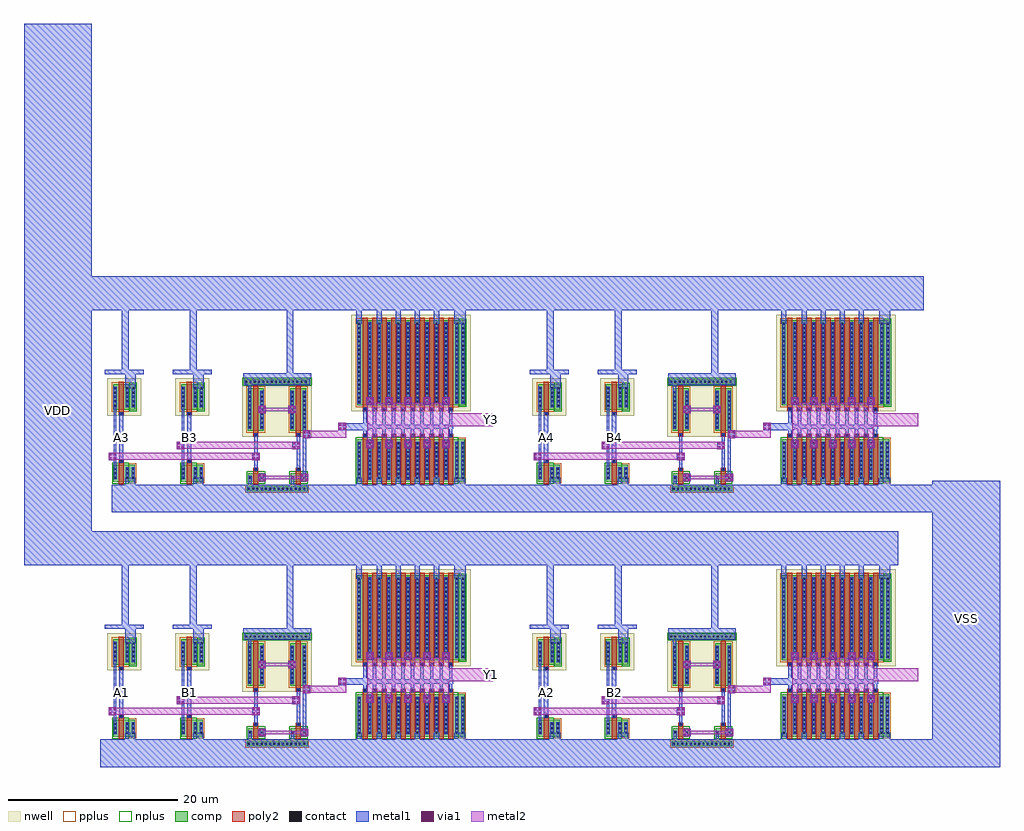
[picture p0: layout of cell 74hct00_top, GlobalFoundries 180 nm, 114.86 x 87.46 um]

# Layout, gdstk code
import gdstk
lib = gdstk.Library(unit=1e-6, precision=1e-09)
def R(c, l, rs):  # rectangles x0, y0, x1, y1
    for r in rs: c.add(gdstk.rectangle(r[:2], r[2:], *l))
def A(c, l, x, y, w, h, nx, ny, dx, dy):  # array of equal rectangles
    R(c, l, [(x+i*dx, y+j*dy, x+i*dx+w, y+j*dy+h) for i in range(nx) for j in range(ny)])
nwell = (21, 0)
comp = (22, 0)
poly2 = (30, 0)
pplus = (31, 0)
nplus = (32, 0)
contact = (33, 0)
metal1 = (34, 0)
via1 = (35, 0)
metal2 = (36, 0)

pfet = lib.new_cell('pfet')
R(pfet, nwell, [(-1.15,-0.69,2.86,3.69)])
R(pfet, comp, [(-0.46,0,0,3), (0,0,0.98,3), (0.98,0,1.44,3), (1.44,0,2.17,3)])
R(pfet, poly2, [(0.19,-0.68,0.79,-0.3), (0.19,-0.3,0.79,3.3)])
R(pfet, pplus, [(-0.63,-0.24,1.44,3.24)])
R(pfet, nplus, [(1.44,-0.17,2.34,3.17)])
A(pfet, contact, -0.34, 0.37, 0.22, 0.22, 1, 5, 0, 0.51)
A(pfet, contact, 1.1, 0.37, 0.22, 0.22, 1, 5, 0, 0.51)
A(pfet, contact, 1.83, 0.37, 0.22, 0.22, 1, 5, 0, 0.51)
R(pfet, contact, [(0.38,-0.6,0.6,-0.38)])
R(pfet, metal1, [(0.3,-0.681,0.68,-0.299), (-0.42,0.29,-0.04,2.71), (1.02,0.29,1.4,2.71), (1.75,0.29,2.13,2.71)])

nfet = lib.new_cell('nfet')
R(nfet, comp, [(-0.42,0,0,2), (0,0,0.98,2), (0.98,0,1.4,2), (1.4,0,2.11,2)])
R(nfet, poly2, [(0.19,-0.3,0.79,2.3), (0.19,2.3,0.79,2.66)])
R(nfet, pplus, [(1.4,-0.17,2.28,2.17)])
R(nfet, nplus, [(-0.59,-0.24,1.4,2.24)])
A(nfet, contact, -0.32, 0.38, 0.22, 0.22, 1, 3, 0, 0.51)
A(nfet, contact, 1.08, 0.38, 0.22, 0.22, 1, 3, 0, 0.51)
A(nfet, contact, 1.79, 0.38, 0.22, 0.22, 1, 3, 0, 0.51)
R(nfet, contact, [(0.38,2.37,0.6,2.59)])
R(nfet, metal1, [(-0.4,0.3,-0.02,1.7), (1,0.3,1.38,1.7), (1.71,0.3,2.09,1.7), (0.3,2.289,0.68,2.671)])

inv_skewed = lib.new_cell('inv_skewed')
R(inv_skewed, metal1, [(-0.415,-1.3,3.16,-0.8), (0.94,-0.8,1.65,0.5), (1.65,-0.8,2.15,0.5), (-0.37,0.5,-0.07,11.01), (0.24,2.265,0.74,8.215), (0.96,11.01,1.69,13.19), (1.69,11.01,2.19,13.19), (-1.45,12.69,3.16,13.19)])
inv_skewed.add(gdstk.Reference(pfet, (0,8.5)))
inv_skewed.add(gdstk.Reference(nfet, (0,0)))
inv_skewed.add(gdstk.Label('VDD', (0.855,12.94), layer=34, texttype=10))
inv_skewed.add(gdstk.Label('VSS', (0.855,-1.05), layer=34, texttype=10))
inv_skewed.add(gdstk.Label('IN', (0.49,5.245), layer=34, texttype=10))
inv_skewed.add(gdstk.Label('OUT', (-0.22,5.245), layer=34, texttype=10))

nfet_1 = lib.new_cell('nfet$1')
R(nfet_1, comp, [(-0.42,0,0,1), (0,0,0.98,1), (0.98,0,1.4,1)])
R(nfet_1, poly2, [(0.19,-0.3,0.79,1.3), (0.19,1.3,0.79,1.66)])
R(nfet_1, nplus, [(-0.59,-0.24,1.57,1.24)])
R(nfet_1, contact, [(-0.32,0.39,-0.1,0.61), (1.08,0.39,1.3,0.61), (0.38,1.37,0.6,1.59)])
R(nfet_1, metal1, [(-0.4,0.309,-0.02,0.691), (1,0.309,1.38,0.691), (0.3,1.289,0.68,1.671)])

pfet_1 = lib.new_cell('pfet$1')
R(pfet_1, nwell, [(-0.9,-0.44,1.88,5.44)])
R(pfet_1, comp, [(-0.46,0,0,5), (0,0,0.98,5), (0.98,0,1.44,5)])
R(pfet_1, poly2, [(0.19,-0.68,0.79,-0.3), (0.19,-0.3,0.79,5.3)])
R(pfet_1, pplus, [(-0.63,-0.24,1.61,5.24)])
A(pfet_1, contact, -0.34, 0.35, 0.22, 0.22, 1, 9, 0, 0.51)
A(pfet_1, contact, 1.1, 0.35, 0.22, 0.22, 1, 9, 0, 0.51)
R(pfet_1, contact, [(0.38,-0.6,0.6,-0.38)])
R(pfet_1, metal1, [(0.3,-0.681,0.68,-0.299), (-0.42,0.27,-0.04,4.73), (1.02,0.27,1.4,4.73)])

nor2 = lib.new_cell('nor2')
R(nor2, nwell, [(-1.1,5.3,7.08,12.26)])
R(nor2, comp, [(-0.59,-1.1,6.57,-0.5), (-0.9,11.5,6.88,12.1)])
R(nor2, pplus, [(-0.75,-1.26,6.73,-0.34)])
R(nor2, nplus, [(-1.06,11.34,7.04,12.26)])
A(nor2, contact, -0.45, -0.91, 0.22, 0.22, 14, 1, 0.5, 0)
A(nor2, contact, -0.76, 11.69, 0.22, 0.22, 15, 1, 0.5, 0)
R(nor2, metal1, [(-1,-1.8,6.98,-1.3), (-0.59,-1.8,6.57,-0.4), (-0.41,-1.3,-0.01,0.71), (4.59,-1.3,4.99,0.715), (0.74,0.05,1.64,0.95), (5.74,0.05,6.64,0.95), (6,0.59,6.4,10.53), (0.29,1.28,0.69,5.705), (5.29,1.28,5.69,5.715), (0.76,8.05,1.66,8.95), (4.32,8.05,5.22,8.95), (-0.43,10.53,-0.03,12.8), (-0.9,11.4,6.88,12.8), (-1,12.3,6.98,12.8)])
R(nor2, via1, [(0.8,0.11,1.06,0.37), (1.32,0.11,1.58,0.37), (5.8,0.11,6.06,0.37), (6.32,0.11,6.58,0.37), (0.8,0.63,1.06,0.89), (1.32,0.63,1.58,0.89), (5.8,0.63,6.06,0.89), (6.32,0.63,6.58,0.89), (0.82,8.11,1.08,8.37), (1.34,8.11,1.6,8.37), (4.38,8.11,4.64,8.37), (4.9,8.11,5.16,8.37), (0.82,8.63,1.08,8.89), (1.34,8.63,1.6,8.89), (4.38,8.63,4.64,8.89), (4.9,8.63,5.16,8.89)])
R(nor2, metal2, [(0.74,0.05,1.64,0.95), (5.74,0.05,6.64,0.95), (1.19,0.3,6.19,0.7), (0.76,8.05,1.66,8.95), (4.32,8.05,5.22,8.95), (1.21,8.3,4.77,8.7)])
nor2.add(gdstk.Reference(nfet_1, (0,0)))
nor2.add(gdstk.Reference(nfet_1, (5,0)))
nor2.add(gdstk.Reference(pfet_1, (0,6)))
nor2.add(gdstk.Reference(pfet_1, (5,6)))
nor2.add(gdstk.Label('VDD', (2.99,12.55), layer=34, texttype=10))
nor2.add(gdstk.Label('VSS', (2.99,-1.55), layer=34, texttype=10))
nor2.add(gdstk.Label('A', (0.49,3.495), layer=34, texttype=10))
nor2.add(gdstk.Label('B', (5.49,3.495), layer=34, texttype=10))
nor2.add(gdstk.Label('OUT', (6.2,3.48), layer=34, texttype=10))

pfet_2 = lib.new_cell('pfet$2')
R(pfet_2, nwell, [(-1.15,-0.69,12.94,10.69)])
R(pfet_2, comp, [(-0.46,0,0,10), (0,0,11.06,10), (11.06,0,11.52,10), (11.52,0,12.25,10)])
A(pfet_2, poly2, 0.19, -0.68, 0.6, 0.38, 10, 1, 1.12, 0)
A(pfet_2, poly2, 0.19, -0.3, 0.6, 10.6, 10, 1, 1.12, 0)
R(pfet_2, pplus, [(-0.63,-0.24,11.52,10.24)])
R(pfet_2, nplus, [(11.52,-0.17,12.42,10.17)])
A(pfet_2, contact, 0.38, -0.6, 0.22, 0.22, 10, 1, 1.12, 0)
A(pfet_2, contact, -0.34, 0.3, 0.22, 0.22, 1, 19, 0, 0.51)
A(pfet_2, contact, 0.94, 0.3, 0.22, 0.22, 9, 19, 1.12, 0.51)
A(pfet_2, contact, 11.18, 0.3, 0.22, 0.22, 1, 19, 0, 0.51)
A(pfet_2, contact, 11.91, 0.3, 0.22, 0.22, 1, 19, 0, 0.51)
A(pfet_2, metal1, 0.3, -0.681, 0.38, 0.382, 10, 1, 1.12, 0)
A(pfet_2, metal1, 0.86, 0.22, 0.38, 9.56, 9, 1, 1.12, 0)
R(pfet_2, metal1, [(-0.42,0.22,-0.04,9.78), (11.1,0.22,11.48,9.78), (11.83,0.22,12.21,9.78)])

nfet_2 = lib.new_cell('nfet$2')
R(nfet_2, comp, [(-0.42,0,0,5), (0,0,11.06,5), (11.06,0,11.48,5), (11.48,0,12.19,5)])
A(nfet_2, poly2, 0.19, -0.3, 0.6, 5.6, 10, 1, 1.12, 0)
A(nfet_2, poly2, 0.19, 5.3, 0.6, 0.36, 10, 1, 1.12, 0)
R(nfet_2, pplus, [(11.48,-0.17,12.36,5.17)])
R(nfet_2, nplus, [(-0.59,-0.24,11.48,5.24)])
A(nfet_2, contact, -0.32, 0.35, 0.22, 0.22, 1, 9, 0, 0.51)
A(nfet_2, contact, 0.94, 0.35, 0.22, 0.22, 9, 9, 1.12, 0.51)
A(nfet_2, contact, 11.16, 0.35, 0.22, 0.22, 1, 9, 0, 0.51)
A(nfet_2, contact, 11.87, 0.35, 0.22, 0.22, 1, 9, 0, 0.51)
A(nfet_2, contact, 0.38, 5.37, 0.22, 0.22, 10, 1, 1.12, 0)
A(nfet_2, metal1, 0.86, 0.27, 0.38, 4.46, 9, 1, 1.12, 0)
A(nfet_2, metal1, 0.3, 5.289, 0.38, 0.382, 10, 1, 1.12, 0)
R(nfet_2, metal1, [(-0.4,0.27,-0.02,4.73), (11.08,0.27,11.46,4.73), (11.79,0.27,12.17,4.73)])

inv_out = lib.new_cell('inv_out')
A(inv_out, metal1, 1.87, -0.8, 0.6, 1.27, 4, 1, 2.24, 0)
A(inv_out, metal1, 0.6, 3.98, 0.9, 0.9, 5, 2, 2.24, 5.09)
A(inv_out, metal1, 0.29, 5.255, 0.4, 3.465, 4, 1, 1.12, 0)
A(inv_out, metal1, 4.77, 5.27, 0.4, 3.45, 4, 1, 1.12, 0)
A(inv_out, metal1, 1.87, 18.58, 0.6, 4.11, 4, 1, 2.24, 0)
R(inv_out, metal1, [(-1.45,-3.3,13.24,-0.8), (-0.51,-0.8,0.09,0.47), (10.97,-0.8,11.57,0.47), (11.57,-0.8,12.28,0.47), (9.25,5.265,9.65,8.72), (10.37,5.265,10.77,8.72), (0.19,6.25,10.87,6.75), (-0.53,18.58,0.07,22.69), (10.99,18.58,11.59,22.69), (11.59,18.58,12.32,22.69), (-1.45,20.19,13.24,22.69)])
R(inv_out, via1, [(0.66,4.04,0.92,4.3), (1.18,4.04,1.44,4.3), (2.9,4.04,3.16,4.3), (3.42,4.04,3.68,4.3), (5.14,4.04,5.4,4.3), (5.66,4.04,5.92,4.3), (7.38,4.04,7.64,4.3), (7.9,4.04,8.16,4.3), (9.62,4.04,9.88,4.3), (10.14,4.04,10.4,4.3), (0.66,4.56,0.92,4.82), (1.18,4.56,1.44,4.82), (2.9,4.56,3.16,4.82), (3.42,4.56,3.68,4.82), (5.14,4.56,5.4,4.82), (5.66,4.56,5.92,4.82), (7.38,4.56,7.64,4.82), (7.9,4.56,8.16,4.82), (9.62,4.56,9.88,4.82), (10.14,4.56,10.4,4.82), (0.66,9.13,0.92,9.39), (1.18,9.13,1.44,9.39), (2.9,9.13,3.16,9.39), (3.42,9.13,3.68,9.39), (5.14,9.13,5.4,9.39), (5.66,9.13,5.92,9.39), (7.38,9.13,7.64,9.39), (7.9,9.13,8.16,9.39), (9.62,9.13,9.88,9.39), (10.14,9.13,10.4,9.39), (0.66,9.65,0.92,9.91), (1.18,9.65,1.44,9.91), (2.9,9.65,3.16,9.91), (3.42,9.65,3.68,9.91), (5.14,9.65,5.4,9.91), (5.66,9.65,5.92,9.91), (7.38,9.65,7.64,9.91), (7.9,9.65,8.16,9.91), (9.62,9.65,9.88,9.91), (10.14,9.65,10.4,9.91)])
A(inv_out, metal2, 0.6, 3.98, 0.9, 0.9, 5, 2, 2.24, 5.09)
A(inv_out, metal2, 0.75, 4.43, 0.6, 5.09, 5, 1, 2.24, 0)
R(inv_out, metal2, [(0.75,5.3,10.31,9.3)])
inv_out.add(gdstk.Reference(pfet_2, (0,9)))
inv_out.add(gdstk.Reference(nfet_2, (0,0)))
inv_out.add(gdstk.Label('VDD', (5.895,21.44), layer=34, texttype=10))
inv_out.add(gdstk.Label('VSS', (5.895,-2.05), layer=34, texttype=10))
inv_out.add(gdstk.Label('IN', (5.895,6.5), layer=34, texttype=10))
inv_out.add(gdstk.Label('OUT', (5.895,7.3), layer=36, texttype=10))

nand2_hct = lib.new_cell('nand2_hct')
R(nand2_hct, metal1, [(-0.635,-1.3,44.91,-0.8), (-0.975,2.55,-0.075,3.45), (15.89,2.55,16.79,3.45), (7.03,3.85,7.93,4.75), (20.64,3.85,21.54,4.75), (21.85,5.15,22.75,6.05), (26.05,6.05,26.95,6.95), (26.35,6.1,29.69,6.9), (19.95,12.49,20.75,23.39), (0.57,12.99,1.37,23.39), (8.57,12.99,9.37,23.39), (33.7,22.49,35.7,23.39), (-1.95,23.19,41.945,23.69)])
R(nand2_hct, via1, [(-0.915,2.61,-0.655,2.87), (-0.395,2.61,-0.135,2.87), (15.95,2.61,16.21,2.87), (16.47,2.61,16.73,2.87), (-0.915,3.13,-0.655,3.39), (-0.395,3.13,-0.135,3.39), (15.95,3.13,16.21,3.39), (16.47,3.13,16.73,3.39), (7.09,3.91,7.35,4.17), (7.61,3.91,7.87,4.17), (20.7,3.91,20.96,4.17), (21.22,3.91,21.48,4.17), (7.09,4.43,7.35,4.69), (7.61,4.43,7.87,4.69), (20.7,4.43,20.96,4.69), (21.22,4.43,21.48,4.69), (21.91,5.21,22.17,5.47), (22.43,5.21,22.69,5.47), (21.91,5.73,22.17,5.99), (22.43,5.73,22.69,5.99), (26.11,6.11,26.37,6.37), (26.63,6.11,26.89,6.37), (26.11,6.63,26.37,6.89), (26.63,6.63,26.89,6.89)])
R(nand2_hct, metal2, [(-0.975,2.55,-0.075,3.45), (15.89,2.55,16.79,3.45), (-0.22,2.6,16.34,3.4), (7.03,3.85,7.93,4.75), (20.64,3.85,21.54,4.75), (7.78,3.9,21.34,4.7), (21.85,5.15,22.75,6.05), (26.05,5.165,26.95,6.95), (22.05,5.2,26.915,6), (26.1,5.6,26.9,6.5), (34.23,6.55,44.265,8.05)])
nand2_hct.add(gdstk.Reference(inv_skewed, (0,0)))
nand2_hct.add(gdstk.Reference(inv_skewed, (8,0)))
nand2_hct.add(gdstk.Reference(nor2, (15.85,0)))
nand2_hct.add(gdstk.Reference(inv_out, (28.7,0)))
nand2_hct.add(gdstk.Label('A', (0.49,5.25), layer=34, texttype=10))
nand2_hct.add(gdstk.Label('B', (8.49,5.25), layer=34, texttype=10))
nand2_hct.add(gdstk.Label('VDD', (21.48,23.44), layer=34, texttype=10))
nand2_hct.add(gdstk.Label('VSS', (21.48,-1.05), layer=34, texttype=10))

c_74hct00_top = lib.new_cell('74hct00_top')
R(c_74hct00_top, metal1, [(-1.95,-3.565,103.91,-0.315), (95.91,-2.25,103.91,30.15), (-10.95,20.18,91.945,24.18), (-10.95,22.24,-2.95,83.895), (-0.635,26.415,103.91,29.665), (-10.95,50.19,94.91,54.19)])
c_74hct00_top.add(gdstk.Reference(nand2_hct, (0,0)))
c_74hct00_top.add(gdstk.Reference(nand2_hct, (50,0)))
c_74hct00_top.add(gdstk.Reference(nand2_hct, (0,30)))
c_74hct00_top.add(gdstk.Reference(nand2_hct, (50,30)))
c_74hct00_top.add(gdstk.Label('Y1', (44.03,7.3), layer=34, texttype=10))
c_74hct00_top.add(gdstk.Label('Y3', (44.065,37.3), layer=34, texttype=10))
c_74hct00_top.add(gdstk.Label('A1', (0.49,5.25), layer=34, texttype=10))
c_74hct00_top.add(gdstk.Label('B1', (8.49,5.25), layer=34, texttype=10))
c_74hct00_top.add(gdstk.Label('A2', (50.49,5.25), layer=34, texttype=10))
c_74hct00_top.add(gdstk.Label('B2', (58.49,5.25), layer=34, texttype=10))
c_74hct00_top.add(gdstk.Label('A3', (0.49,35.25), layer=34, texttype=10))
c_74hct00_top.add(gdstk.Label('B3', (8.49,35.25), layer=34, texttype=10))
c_74hct00_top.add(gdstk.Label('A4', (50.49,35.25), layer=34, texttype=10))
c_74hct00_top.add(gdstk.Label('B4', (58.49,35.25), layer=34, texttype=10))
c_74hct00_top.add(gdstk.Label('VDD', (-6.95,38.44), layer=34, texttype=10))
c_74hct00_top.add(gdstk.Label('VSS', (99.91,13.95), layer=34, texttype=10))

lib.write_gds('74hct00_top.gds')
